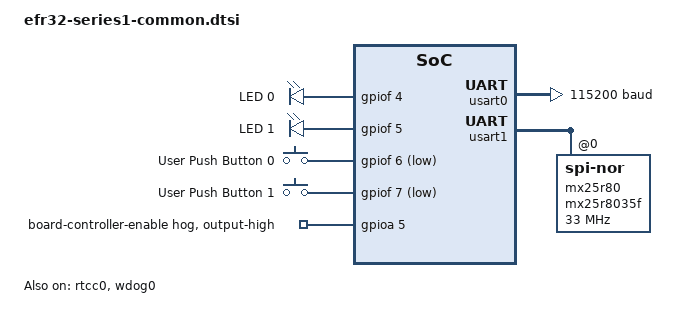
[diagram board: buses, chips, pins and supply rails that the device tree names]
/*
 * Copyright (c) 2020 Piotr Mienkowski
 *
 * SPDX-License-Identifier: Apache-2.0
 */

#include <zephyr/dt-bindings/input/input-event-codes.h>
#include "efr32-series1-common-pinctrl.dtsi"

/ {
	chosen {
		zephyr,console = &usart0;
		zephyr,shell-uart = &usart0;
		zephyr,uart-pipe = &usart0;
		zephyr,sram = &sram0;
		zephyr,flash = &flash0;
		zephyr,code-partition = &slot0_partition;
	};

	/* These aliases are provided for compatibility with samples */
	aliases {
		led0 = &led0;
		led1 = &led1;
		sw0 = &button0;
		sw1 = &button1;
		watchdog0 = &wdog0;
	};

	leds {
		compatible = "gpio-leds";
		led0: led_0 {
			gpios = <&gpiof 4 0>;
			label = "LED 0";
		};
		led1: led_1 {
			gpios = <&gpiof 5 0>;
			label = "LED 1";
		};
	};

	buttons {
		compatible = "gpio-keys";
		button0: button_0 {
			/* gpio flags need validation */
			gpios = <&gpiof 6 GPIO_ACTIVE_LOW>;
			label = "User Push Button 0";
			zephyr,code = <INPUT_KEY_0>;
		};
		button1: button_1 {
			/* gpio flags need validation */
			gpios = <&gpiof 7 GPIO_ACTIVE_LOW>;
			label = "User Push Button 1";
			zephyr,code = <INPUT_KEY_1>;
		};
	};

};

&usart0 {
	current-speed = <115200>;
	pinctrl-0 = <&usart0_default>;
	pinctrl-names = "default";
	status = "okay";
};

&usart1 {
	compatible = "silabs,gecko-spi-usart";

	#address-cells = <1>;
	#size-cells = <0>;

	pinctrl-0 = <&usart1_default>;
	pinctrl-names = "default";

	cs-gpios = <&gpioa 4 GPIO_ACTIVE_LOW>;

	status = "okay";

	mx25r80: mx25r8035f@0 {
		compatible = "jedec,spi-nor";
		reg = <0>;
		spi-max-frequency = <33000000>;
		size = <0x800000>;
		jedec-id = [c2 28 14];
	};
};

&rtcc0 {
	prescaler = <1>;
	status = "okay";
};

&gpio {
	location-swo = <0>;
	status = "okay";
};

&gpioa {
	status = "okay";

	board-controller-enable {
		gpio-hog;
		gpios = <5 GPIO_ACTIVE_HIGH>;
		output-high;
	};
};

&gpiob {
	status = "okay";
};

&gpioc {
	status = "okay";
};

&gpiod {
	status = "okay";
};

&gpiof {
	status = "okay";
};

&wdog0 {
	status = "okay";
};
